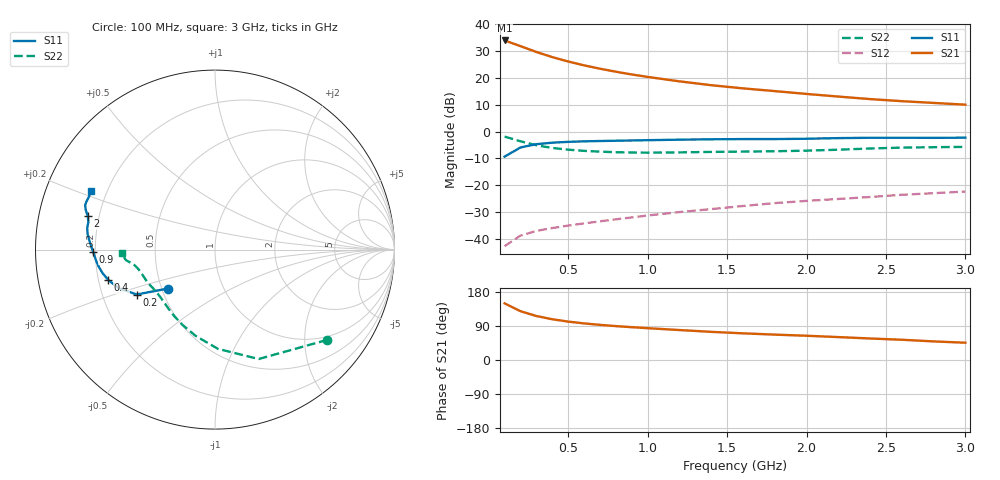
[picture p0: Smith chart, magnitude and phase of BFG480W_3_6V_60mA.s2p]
! Filename: 3_660BFG480.001
! Title: BFG480W
! Bias: Vce=3.6V; Ic=60mA
! Company: Philips Semiconductors NL
! User: Quality&Reliability T&D
! Measure time: 10 Nov 1999 / 12:00:10
#  MHz  S  MA  R 50
! Freq  S11  S21  S12  S22  :
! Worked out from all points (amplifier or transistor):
!   20 points, 100 MHz to 3 GHz, reference 50 ohm
!   highest |S21| = 34.0 dB at 100 MHz (marker M1)
!   |S21| within 3 dB of that: start of sweep to 240.3 MHz
!   unconditionally stable (mu >= 1): 883.1 MHz to end of sweep
!   at 400 MHz: K = 0.69, MSG = 31.9 dB, |S12| = -36.1 dB
!   at 1.2 GHz: K = 1.06, MAG = 23.0 dB, |S12| = -30.1 dB
!   at 3 GHz: K = 1.06, MAG = 14.8 dB, |S12| = -22.4 dB
!   S11 on the Smith chart (normalised r, x): 100 MHz: 0.54, -0.26; 200 MHz: 0.35, -0.24; 400 MHz: 0.24, -0.13; 900 MHz: 0.19, -0.01; 2 GHz: 0.16, +0.13; 3 GHz: 0.14, +0.22
100  0.3393 -140.3  50.26 149.4  0.007203 67.8  0.8031 -38.8
200  0.5034 -150.2  39.36 128.8  0.01135 57.7  0.6563 -68.2
300  0.5794 -158.4  30.63 116.0  0.01387 54.7  0.5531 -88.3
400  0.6181 -164.1  24.55 107.5  0.01574 55.1  0.4929 -102.6
500  0.6407 -168.3  20.33 101.3  0.01743 56.6  0.4573 -113.2
600  0.6547 -171.6  17.22 96.6  0.01916 58.6  0.4352 -121.2
700  0.6644 -174.4  14.91 92.7  0.02097 60.6  0.4203 -127.5
800  0.6723 -176.9  13.09 89.4  0.02287 62.6  0.4104 -132.8
900  0.68 -179.1  11.64 86.6  0.0248 64.6  0.4046 -137.3
1000  0.6882 178.9  10.47 84.0  0.02695 66.1  0.4026 -141.4
1200  0.7038 175.5  8.654 79.1  0.03122 68.5  0.407 -148.0
1400  0.7155 172.9  7.334 74.3  0.0355 70.1  0.4157 -153.0
1600  0.7221 170.4  6.397 70.4  0.04053 71.5  0.4214 -156.8
1800  0.7221 167.7  5.688 67.0  0.04593 72.6  0.4279 -160.7
2000  0.7327 165.3  5.036 64.0  0.05057 73.5  0.4384 -165.2
2200  0.7522 163.1  4.496 60.5  0.05492 73.8  0.4571 -169.1
2400  0.7643 161.2  4.032 56.8  0.05971 73.6  0.4813 -171.7
2600  0.7647 159.5  3.687 53.4  0.06569 73.1  0.5 -173.3
2800  0.7614 157.3  3.419 49.0  0.07036 72.0  0.5089 -175.2
3000  0.7663 154.6  3.175 45.6  0.07569 71.4  0.5163 -178.2
